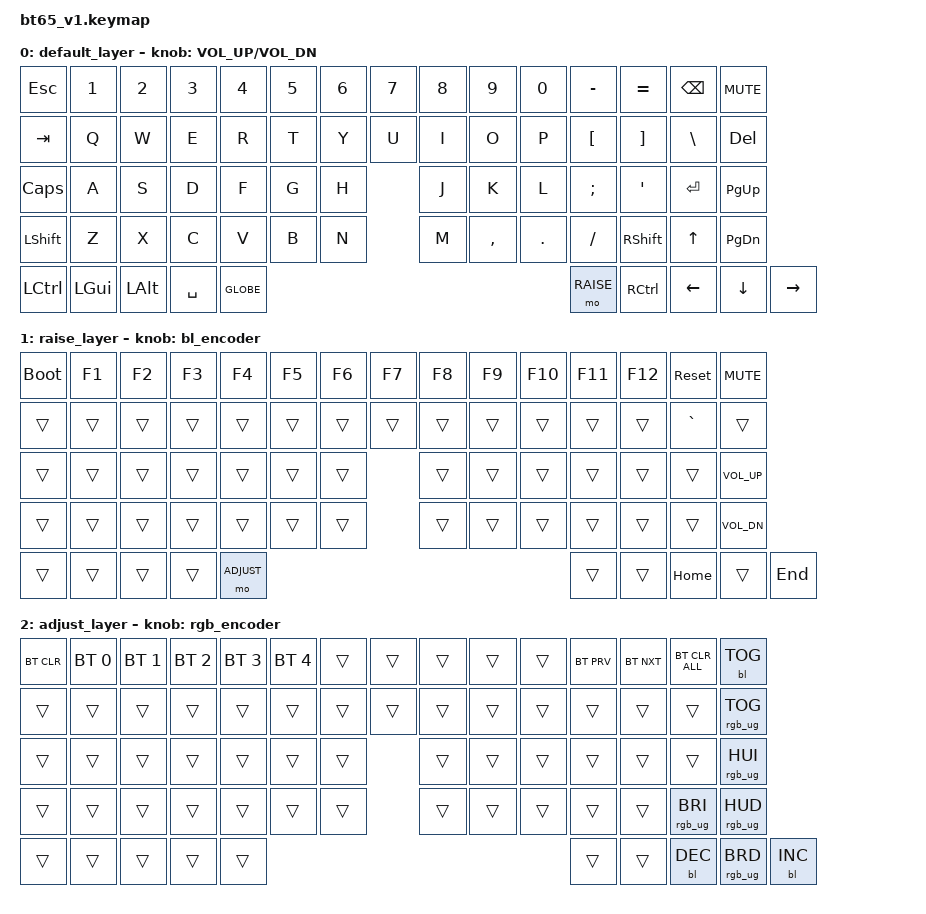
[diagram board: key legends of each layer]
#include <behaviors.dtsi>
#include <dt-bindings/zmk/keys.h>
#include <dt-bindings/zmk/bt.h>
#include <dt-bindings/zmk/rgb.h>
#include <dt-bindings/zmk/backlight.h>

#define DEFAULT 0
#define RAISE 1
#define ADJUST 2

/ {
  chosen {
  zmk,physical-layout = &layout_65_ansi;
  };

  behaviors {
    bl_encoder: bl_encoder {
        compatible = "zmk,behavior-sensor-rotate";
        #sensor-binding-cells = <0>;
        bindings = <&bl BL_INC>, <&bl BL_DEC>;
    };
    rgb_encoder: rgb_encoder {
      compatible = "zmk,behavior-sensor-rotate";
      #sensor-binding-cells = <0>;
      bindings = <&rgb_ug RGB_BRI>, <&rgb_ug RGB_BRD>;
    };
  };

  keymap {
    compatible = "zmk,keymap";
    default_layer {
        // -------------------------------------------------------------------------------------------------
        // | ESC |  1  |  2  |  3  |  4  |  5  |  6  |  7  |  8  |  9  |  0  |  -  |  =  |   BSPC   | MUTE |
        // | TAB   |  Q  |  W  |  E  |  R  |  T  |  Y  |  U  |  I  |  O  |  P  |  [  |  ]  |   \    | DEL  |
        // | CAPS   |  A  |  S  |  D  |  F  |  G  |  H  |  J  |  K  |  L  |  ;  |  '  |    ENTER    | PGUP |
        // |  SHIFT   |  Z  |  X  |  C  |  V  |  B  |  N  |  M  |  ,  |  .  |  /  |   SHIFT   | UP  | PGDN |
        // |  CTL  |  WIN  |  ALT  |             SPACE                | GLB |  RAISE  |RCTRL| LEFT| DOWN|RIGHT |
        // ------------------------------------------------------------------------------------------------
      bindings = <
        &kp ESC &kp N1 &kp N2 &kp N3 &kp N4 &kp N5 &kp N6 &kp N7 &kp  N8   &kp  N9   &kp N0 &kp MINUS &kp EQUAL &kp BSPC &kp C_MUTE
        &kp TAB   &kp Q  &kp W  &kp E  &kp R  &kp T  &kp Y  &kp U  &kp  I    &kp  O  &kp  P   &kp LBKT &kp RBKT &kp BSLH &kp DEL
        &kp CLCK   &kp A  &kp S  &kp D  &kp F  &kp G  &kp H  &kp J  &kp  K    &kp  L  &kp SEMI &kp SQT         &kp RET &kp PG_UP
        &kp LSHFT     &kp Z  &kp X  &kp C  &kp V  &kp B  &kp N  &kp M  &kp COMMA &kp DOT &kp FSLH   &kp RSHFT   &kp UP &kp PG_DN
        &kp LCTRL &kp LGUI &kp LALT            &kp SPACE                   &kp GLOBE &mo RAISE &kp RCTRL &kp LEFT &kp DOWN &kp RIGHT
      >;
      sensor-bindings = <&inc_dec_kp C_VOL_UP C_VOL_DN>;
    };
    raise_layer {
        // --------------------------------------------------------------------------------------------------
        // | BOOT | F1  | F2  | F3  | F4  | F5  | F6  | F7  | F8  | F9  | F10 | F11 | F12 |  RESET   | BL_TOG  |
        // | TAB  |  Q  |  W  |  E  |  R  |  T  |  Y  |  U  |  I  |  O  |  P  | [   |  ]  |  GRAVE   | RGB_TOG |
        // | CAPS  |  A  |  S  |  D  |  F  |  G  |  H  |  J  |  K  |  L  |  ;  |  '  |     BOOT      | RGB_HUI |
        // |  SHIFT   |  Z  |  X  |  C  |  V  |  B  |  N  |  M  |  ,  |  .  |  /  |    ADJUST  | UP  | RGB_HUD |
        // |  CTL  |  WIN  |  ALT  |            SPACE               | GLB |     | CTRL | HOME | DOWN | END |
        // --------------------------------------------------------------------------------------------------
      bindings = <
        &bootloader   &kp F1 &kp F2 &kp F3 &kp F4 &kp F5 &kp F6 &kp F7 &kp F8 &kp F9 &kp F10 &kp F11 &kp F12 &sys_reset  &kp C_MUTE
        &trans &trans &trans &trans &trans &trans &trans &trans &trans &trans &trans &trans &trans             &kp GRAVE &trans
        &trans &trans &trans &trans &trans &trans &trans &trans &trans &trans &trans &trans                    &trans    &kp C_VOL_UP
        &trans &trans &trans &trans &trans &trans &trans &trans &trans &trans &trans               &trans      &trans    &kp C_VOL_DN
        &trans &trans &trans               &trans                             &mo ADJUST &trans &trans &kp HOME    &trans    &kp END
      >;
      sensor-bindings = <&bl_encoder>;
    };
    adjust_layer {
        // --------------------------------------------------------------------------------------------------
        // | BT_CLR | BT 0  |  BT 1  | BT 2  | BT 3  | BT 4  | BT 5  | F7  | F8  | F9  | F10 | BT_PRV | BT_NXT | BT_CLR_ALL  | None  |
        // | TAB  |  Q  |  W  |  E  |  R  |  T  |  Y  |  U  |  I  |  O  |  P  | [   |  ]  |  GRAVE   | RGB_TOG |
        // | CAPS  |  A  |  S  |  D  |  F  |  G  |  H  |  J  |  K  |  L  |  ;  |  '  |     BOOT      | RGB_HUI |
        // |  SHIFT   |  Z  |  X  |  C  |  V  |  B  |  N  |  M  |  ,  |  .  |  /  |    ADJUST  | UP  | RGB_HUD |
        // |  CTL  |  WIN  |  ALT  |            SPACE               | GLB |     | CTRL | HOME | DOWN | END |
        // --------------------------------------------------------------------------------------------------
      bindings = <
        &bt BT_CLR &bt BT_SEL 0 &bt BT_SEL 1 &bt BT_SEL 2 &bt BT_SEL 3 &bt BT_SEL 4 &trans &trans &trans &trans &trans &bt BT_PRV &bt BT_NXT &bt BT_CLR_ALL  &bl BL_TOG
        &trans &trans &trans &trans &trans &trans &trans &trans &trans &trans &trans &trans &trans           &trans    &rgb_ug RGB_TOG
        &trans &trans &trans &trans &trans &trans &trans &trans &trans &trans &trans &trans                  &trans    &rgb_ug RGB_HUI
        &trans &trans &trans &trans &trans &trans &trans &trans &trans &trans &trans               &trans    &rgb_ug RGB_BRI   &rgb_ug RGB_HUD
        &trans &trans &trans               &trans                             &trans &trans &trans &bl BL_DEC    &rgb_ug RGB_BRD   &bl BL_INC
      >;
      sensor-bindings = <&rgb_encoder>;
    };
  };
};
